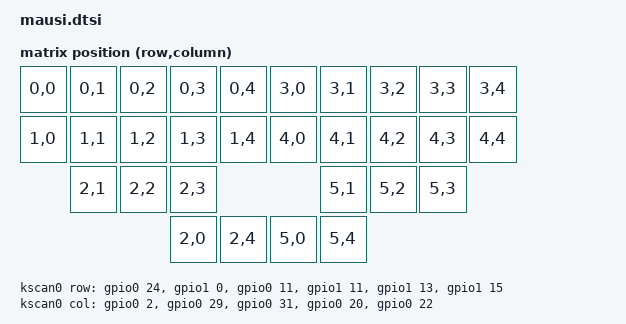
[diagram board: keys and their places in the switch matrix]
#include <dt-bindings/zmk/matrix_transform.h>

/ {
    kscan0: kscan0 {
        compatible = "zmk,kscan-gpio-matrix";
        diode-direction = "col2row";
        wakeup-source;

        col-gpios
            = <&gpio0  2 GPIO_ACTIVE_HIGH>
            , <&gpio0 29 GPIO_ACTIVE_HIGH>
            , <&gpio0 31 GPIO_ACTIVE_HIGH>
            , <&gpio0 20 GPIO_ACTIVE_HIGH>
            , <&gpio0 22 GPIO_ACTIVE_HIGH>
            ;

        row-gpios
            = <&gpio0 24 (GPIO_ACTIVE_HIGH | GPIO_PULL_DOWN)>
            , <&gpio1  0 (GPIO_ACTIVE_HIGH | GPIO_PULL_DOWN)>
            , <&gpio0 11 (GPIO_ACTIVE_HIGH | GPIO_PULL_DOWN)>
            , <&gpio1 11 (GPIO_ACTIVE_HIGH | GPIO_PULL_DOWN)>
            , <&gpio1 13 (GPIO_ACTIVE_HIGH | GPIO_PULL_DOWN)>
            , <&gpio1 15 (GPIO_ACTIVE_HIGH | GPIO_PULL_DOWN)>
            ;
    };
};

/ {
    default_transform: keymap_transform0 {
        compatible = "zmk,matrix-transform";
        columns = <5>;
        rows = <6>;
        map = <
            RC(0,0) RC(0,1) RC(0,2) RC(0,3) RC(0,4) RC(3,0) RC(3,1) RC(3,2) RC(3,3) RC(3,4)
            RC(1,0) RC(1,1) RC(1,2) RC(1,3) RC(1,4) RC(4,0) RC(4,1) RC(4,2) RC(4,3) RC(4,4)
                    RC(2,1) RC(2,2) RC(2,3)                 RC(5,1) RC(5,2) RC(5,3)
                                    RC(2,0) RC(2,4) RC(5,0) RC(5,4)
            >;
    };
};

/ {
    physical_layout0: physical_layout_0 { // First physical layout, use different naming for other layouts
        compatible = "zmk,physical-layout";
        display-name = "Default Layout";
        kscan = <&kscan0>; // Label of the kscan node, optional if all layouts use the same
        transform = <&default_transform>; // Label of the matrix transform for this layout
    };
};
/ {
    chosen {
        zmk,physical-layout = &physical_layout0;
		zmk,keyscan = &kscan0;
    };
};



&i2c1 {
    trackpad: trackpad@73 {
        status = "enabled";
        compatible = "azoteq,iqs5xx";
        reg = <0x73>;
        reset-gpios = <&gpio0 10 GPIO_ACTIVE_LOW | GPIO_PULL_UP>;
        rdy-gpios = <&gpio0 9 GPIO_ACTIVE_HIGH | GPIO_PULL_UP>;

        // Gesture features (configured in trackpad_config.dtsi)
#ifdef TRACKPAD_ONE_FINGER_TAP
        one-finger-tap;
#endif
#ifdef TRACKPAD_TWO_FINGER_TAP
        two-finger-tap;
#endif
#ifdef TRACKPAD_PRESS_AND_HOLD
        press-and-hold;
        press-and-hold-time = <TRACKPAD_PRESS_HOLD_TIME>;
#endif
#ifdef TRACKPAD_SCROLL
        scroll;
#endif

        // Scroll direction (configured in trackpad_config.dtsi)
#ifdef TRACKPAD_NATURAL_SCROLL_Y
        natural-scroll-y;
#endif
#ifdef TRACKPAD_NATURAL_SCROLL_X
        natural-scroll-x;
#endif

        // Sensitivity settings (configured in trackpad_config.dtsi)
        bottom-beta = <TRACKPAD_BOTTOM_BETA>;
        stationary-threshold = <TRACKPAD_STATIONARY_THRESHOLD>;

        // Orientation (configured in trackpad_config.dtsi)
#ifdef TRACKPAD_SWITCH_XY
        switch-xy;
#endif
#ifdef TRACKPAD_FLIP_X
        flip-x;
#endif
#ifdef TRACKPAD_FLIP_Y
        flip-y;
#endif
    };
};

/ {
    trackpad_input: trackpad_input {
        compatible = "zmk,input-listener";
        status = "enabled";
        device = <&trackpad>;
    };
}
